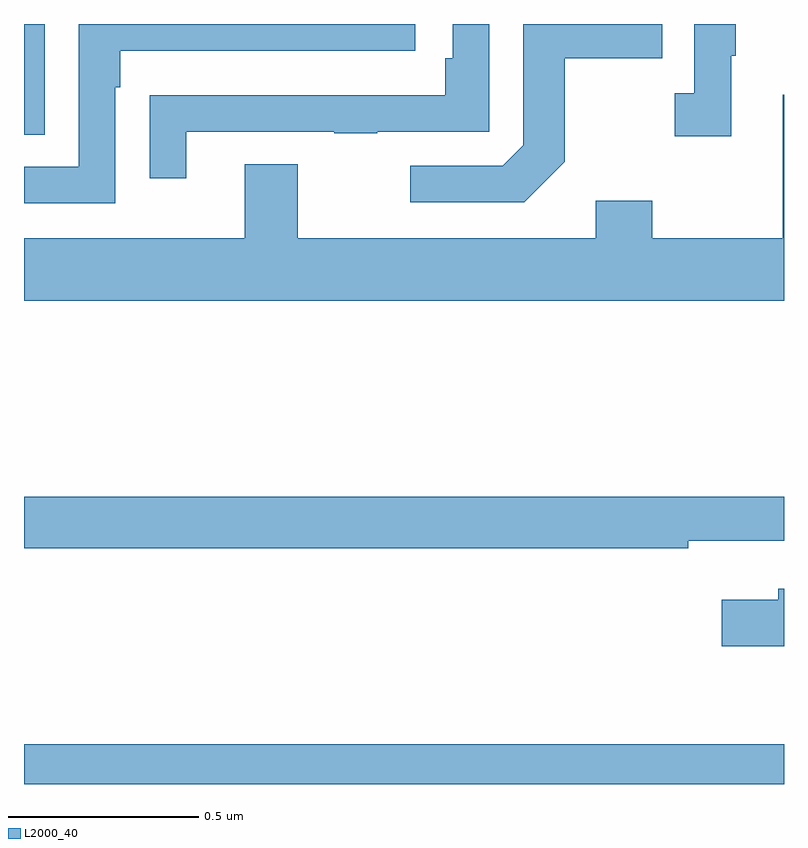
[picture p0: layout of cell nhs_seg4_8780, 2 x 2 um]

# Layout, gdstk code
import gdstk
lib = gdstk.Library(unit=1e-6, precision=1e-09)
def R(c, l, rs):  # rectangles x0, y0, x1, y1
    for r in rs: c.add(gdstk.rectangle(r[:2], r[2:], *l))
def P(c, l, *ps):  # polygons
    for p in ps: c.add(gdstk.Polygon(p, *l))
L2000_40 = (2000, 40)

nhs_seg4_8780 = lib.new_cell('nhs_seg4_8780')
R(nhs_seg4_8780, L2000_40, [(219,776.9,221,777.004), (219,778.609,219.054,778.9)])
P(nhs_seg4_8780, L2000_40, [(220.861,778.817),(220.873,778.817),(220.873,778.9),(220.764,778.9),(220.764,778.718),(220.713,778.718),(220.713,778.605),(220.861,778.605)],
  [(219.427,778.617),(219.817,778.617),(219.817,778.612),(219.929,778.612),(219.929,778.617),(220.224,778.617),(220.224,778.9),(220.128,778.9),(220.128,778.81),(220.108,778.81),(220.108,778.713),(219.433,778.713),(219.433,778.712),(219.331,778.712),(219.331,778.494),(219.427,778.494)],
  [(220.423,778.537),(220.423,778.81),(220.679,778.81),(220.679,778.9),(220.314,778.9),(220.314,778.581),(220.26,778.527),(220.017,778.527),(220.017,778.431),(220.317,778.431)],
  [(219.24,778.733),(219.253,778.733),(219.253,778.83),(220.03,778.83),(220.03,778.9),(219.144,778.9),(219.144,778.524),(219,778.524),(219,778.428),(219.24,778.428)],
  [(221,778.714),(220.997,778.714),(220.997,778.336),(220.653,778.336),(220.653,778.435),(220.505,778.435),(220.505,778.336),(219.721,778.336),(219.721,778.531),(219.581,778.531),(219.581,778.336),(219,778.336),(219,778.172),(221,778.172)],
  [(220.748,777.54),(221,777.54),(221,777.656),(219,777.656),(219,777.52),(220.748,777.52)],
  [(221,777.414),(220.985,777.414),(220.985,777.385),(220.836,777.385),(220.836,777.263),(221,777.263)])

lib.write_gds('nhs_seg4_8780.gds')
